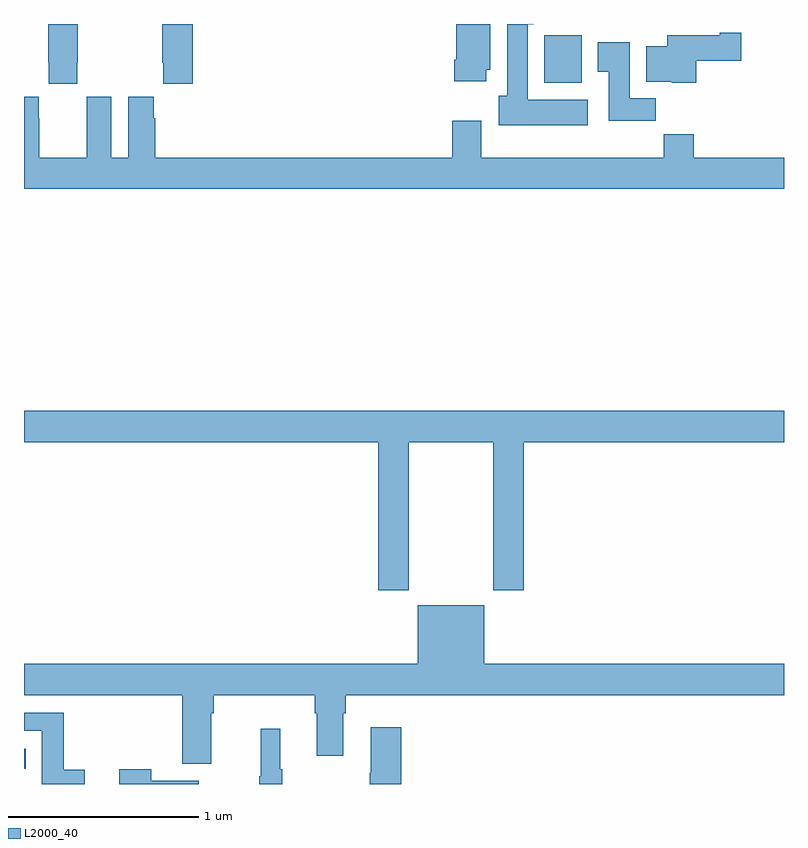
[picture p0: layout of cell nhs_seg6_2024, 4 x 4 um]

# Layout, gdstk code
import gdstk
lib = gdstk.Library(unit=1e-6, precision=1e-09)
def R(c, l, rs):  # rectangles x0, y0, x1, y1
    for r in rs: c.add(gdstk.rectangle(r[:2], r[2:], *l))
def P(c, l, *ps):  # polygons
    for p in ps: c.add(gdstk.Polygon(p, *l))
L2000_40 = (2000, 40)

nhs_seg6_2024 = lib.new_cell('nhs_seg6_2024')
R(nhs_seg6_2024, L2000_40, [(231,981.579,231.008,981.685), (233.739,985.19,233.935,985.44)])
P(nhs_seg6_2024, L2000_40, [(231.279,985.297),(231.282,985.297),(231.282,985.5),(231.127,985.5),(231.127,985.297),(231.129,985.297),(231.129,985.185),(231.279,985.185)],
  [(231.887,985.5),(231.727,985.5),(231.727,985.297),(231.733,985.297),(231.733,985.185),(231.887,985.185)],
  [(233.434,985.26),(233.455,985.26),(233.455,985.5),(233.276,985.5),(233.276,985.312),(233.264,985.312),(233.264,985.2),(233.434,985.2)],
  [(233.968,985.102),(233.65,985.102),(233.65,985.499),(233.683,985.499),(233.683,985.5),(233.543,985.5),(233.543,985.122),(233.498,985.122),(233.498,984.968),(233.968,984.968)],
  [(234.539,985.307),(234.775,985.307),(234.775,985.454),(234.662,985.454),(234.662,985.441),(234.386,985.441),(234.386,985.384),(234.275,985.384),(234.275,985.196),(234.408,985.196),(234.408,985.19),(234.539,985.19)],
  [(234.326,985.108),(234.187,985.108),(234.187,985.405),(234.02,985.405),(234.02,985.249),(234.077,985.249),(234.077,984.99),(234.326,984.99)],
  [(235,984.796),(234.524,984.796),(234.524,984.92),(234.367,984.92),(234.367,984.796),(233.407,984.796),(233.407,984.991),(233.255,984.991),(233.255,984.796),(231.692,984.796),(231.692,985.004),(231.682,985.004),(231.682,985.117),(231.548,985.117),(231.548,984.796),(231.46,984.796),(231.46,985.117),(231.33,985.117),(231.33,985.004),(231.329,985.004),(231.329,984.796),(231.079,984.796),(231.079,985.004),(231.078,985.004),(231.078,985.117),(231,985.117),(231,984.632),(235,984.632)],
  [(233.025,983.3),(233.47,983.3),(233.47,982.521),(233.63,982.521),(233.63,983.3),(235,983.3),(235,983.464),(231,983.464),(231,983.3),(232.865,983.3),(232.865,982.521),(233.025,982.521)],
  [(231.985,981.872),(231.998,981.872),(231.998,981.968),(232.529,981.968),(232.529,981.872),(232.541,981.872),(232.541,981.648),(232.681,981.648),(232.681,981.872),(232.694,981.872),(232.694,981.968),(235,981.968),(235,982.132),(233.422,982.132),(233.422,982.441),(233.072,982.441),(233.072,982.132),(231,982.132),(231,981.968),(231.833,981.968),(231.833,981.606),(231.985,981.606)],
  [(231.32,981.574),(231.209,981.574),(231.209,981.876),(231,981.876),(231,981.78),(231.093,981.78),(231.093,981.5),(231.32,981.5)],
  [(232.985,981.799),(232.826,981.799),(232.826,981.56),(232.819,981.56),(232.819,981.5),(232.985,981.5)],
  [(232.36,981.577),(232.349,981.577),(232.349,981.79),(232.246,981.79),(232.246,981.54),(232.239,981.54),(232.239,981.5),(232.36,981.5)],
  [(231.919,981.517),(231.671,981.517),(231.671,981.577),(231.5,981.577),(231.5,981.5),(231.919,981.5)])

lib.write_gds('nhs_seg6_2024.gds')
